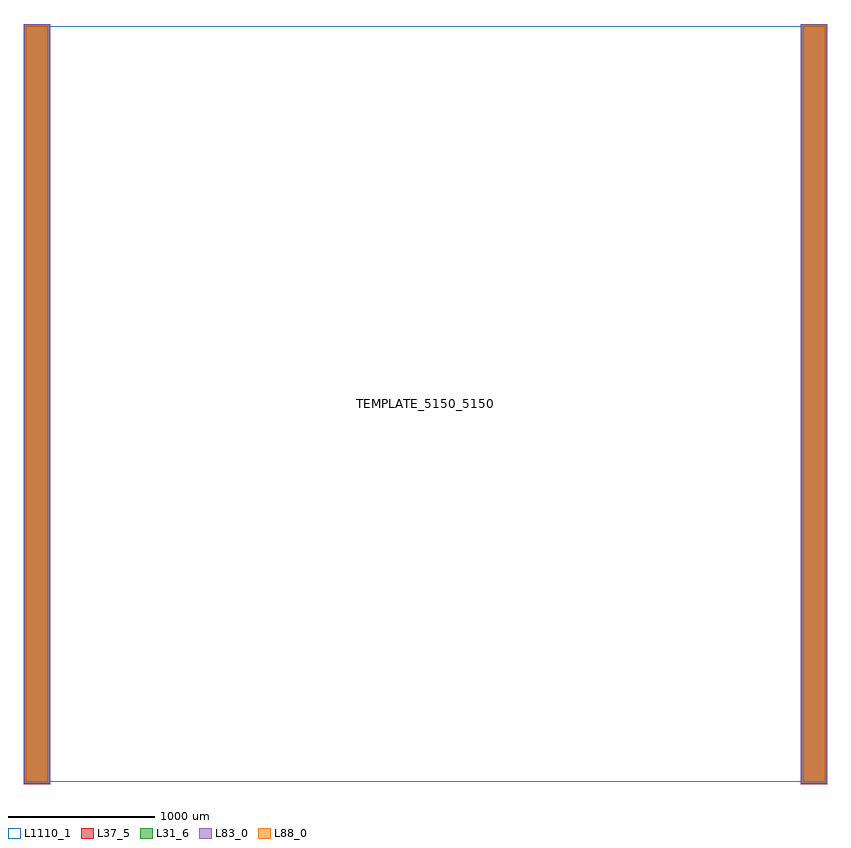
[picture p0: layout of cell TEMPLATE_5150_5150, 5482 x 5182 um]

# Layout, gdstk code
import gdstk
lib = gdstk.Library(unit=1e-6, precision=1e-09)
def R(c, l, rs):  # rectangles x0, y0, x1, y1
    for r in rs: c.add(gdstk.rectangle(r[:2], r[2:], *l))
def P(c, l, *ps):  # polygons
    for p in ps: c.add(gdstk.Polygon(p, *l))
L31_6 = (31, 6)
L37_5 = (37, 5)
L83_0 = (83, 0)
L88_0 = (88, 0)
L1110_1 = (1110, 1)

template_5150_5150 = lib.new_cell('TEMPLATE_5150_5150')
R(template_5150_5150, L31_6, [(-165.2,-15.2,15.2,5165.2), (5134.8,-15.2,5315.2,5165.2)])
R(template_5150_5150, L37_5, [(-166,-16,16,5166), (5134,-16,5316,5166)])
R(template_5150_5150, L83_0, [(-165,-15,15,5165), (5135,-15,5315,5165)])
R(template_5150_5150, L88_0, [(-150,0,0,5150), (5150,0,5300,5150)])
P(template_5150_5150, L1110_1, [(-166,-16),(-166,5166),(16,5166),(16,5150),(5134,5150),(5134,5166),(5316,5166),(5316,-16),(5134,-16),(5134,0),(16,0),(16,-16)])
template_5150_5150.add(gdstk.Label('TEMPLATE_5150_5150', (2575,2575.5), layer=1002, texttype=0))
template_5150_5150.add(gdstk.Label('ISIPP50G_2_3_0', (2575,2575), layer=1002, texttype=0))
template_5150_5150.add(gdstk.Label('imec_cell', (2575,2574.5), layer=1002, texttype=0))

lib.write_gds('TEMPLATE_5150_5150.gds')
